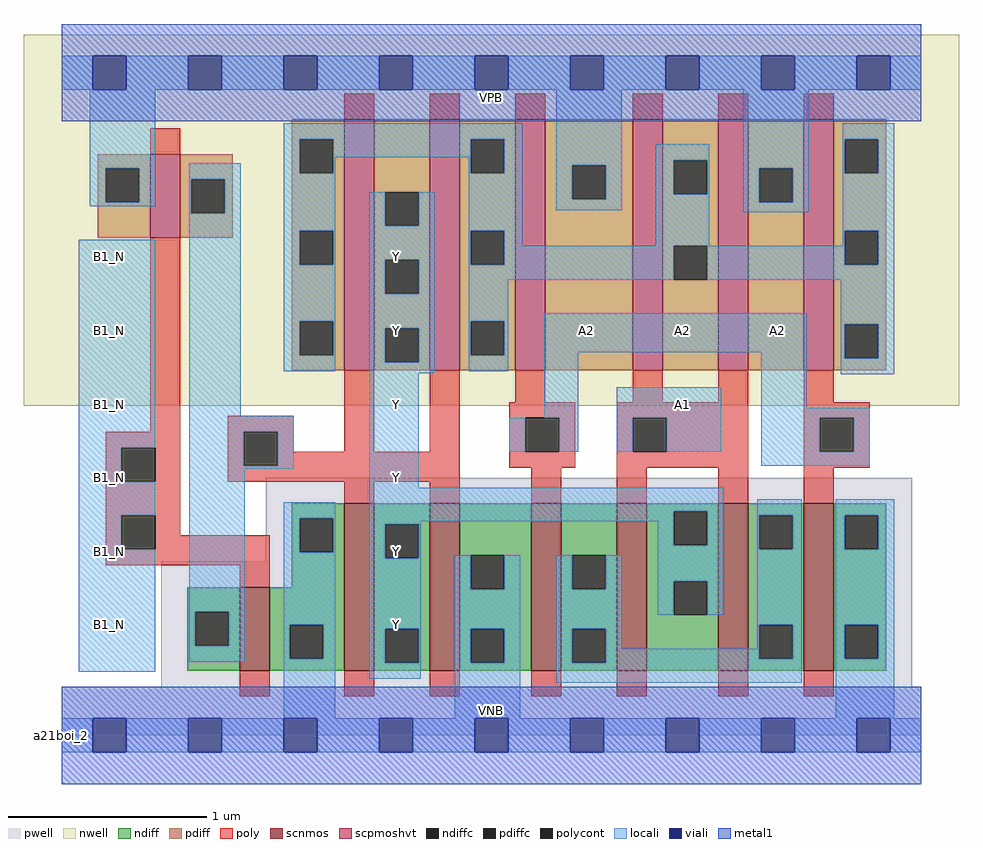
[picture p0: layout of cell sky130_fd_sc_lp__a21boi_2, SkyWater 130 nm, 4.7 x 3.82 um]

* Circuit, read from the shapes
.subckt sky130_fd_sc_lp__a21boi_2 A1 A2 B1_N VGND VNB VPB VPWR Y
XM1 VGND B1_N n1 VNB sky130_fd_pr__nfet_01v8 w=0.42 l=0.15
XM2 Y n1 VGND VNB sky130_fd_pr__nfet_01v8 w=0.84 l=0.15 m=2
XM3 n2 A2 VGND VNB sky130_fd_pr__nfet_01v8 w=0.84 l=0.15 m=2
XM4 Y A1 n2 VNB sky130_fd_pr__nfet_01v8 w=0.84 l=0.15 m=2
XM5 n1 B1_N VPWR VPB sky130_fd_pr__pfet_01v8_hvt w=0.42 l=0.15
XM6 Y n1 n3 VPB sky130_fd_pr__pfet_01v8_hvt w=1.26 l=0.15 m=2
XM7 VPWR A2 n3 VPB sky130_fd_pr__pfet_01v8_hvt w=1.26 l=0.15 m=2
XM8 n3 A1 VPWR VPB sky130_fd_pr__pfet_01v8_hvt w=1.26 l=0.15 m=2
.ends

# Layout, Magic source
magic
tech sky130A
magscale 1 2
<< nwell >>
rect -38 331 902 704
<< pwell >>
rect 205 175 855 259
rect 100 49 855 175
rect 0 0 864 49
<< scnmos >>
rect 179 65 209 149
rect 284 65 314 233
rect 370 65 400 233
rect 472 65 502 233
rect 558 65 588 233
rect 660 65 690 233
rect 746 65 776 233
<< scpmoshvt >>
rect 89 500 119 584
rect 284 367 314 619
rect 370 367 400 619
rect 456 367 486 619
rect 574 367 604 619
rect 660 367 690 619
rect 746 367 776 619
<< ndiff >>
rect 231 218 284 233
rect 231 184 239 218
rect 273 184 284 218
rect 231 149 284 184
rect 126 124 179 149
rect 126 90 134 124
rect 168 90 179 124
rect 126 65 179 90
rect 209 111 284 149
rect 209 77 229 111
rect 263 77 284 111
rect 209 65 284 77
rect 314 212 370 233
rect 314 178 325 212
rect 359 178 370 212
rect 314 107 370 178
rect 314 73 325 107
rect 359 73 370 107
rect 314 65 370 73
rect 400 181 472 233
rect 400 147 411 181
rect 445 147 472 181
rect 400 107 472 147
rect 400 73 411 107
rect 445 73 472 107
rect 400 65 472 73
rect 502 181 558 233
rect 502 147 513 181
rect 547 147 558 181
rect 502 107 558 147
rect 502 73 513 107
rect 547 73 558 107
rect 502 65 558 73
rect 588 225 660 233
rect 588 191 615 225
rect 649 191 660 225
rect 588 155 660 191
rect 588 121 615 155
rect 649 121 660 155
rect 588 65 660 121
rect 690 221 746 233
rect 690 187 701 221
rect 735 187 746 221
rect 690 111 746 187
rect 690 77 701 111
rect 735 77 746 111
rect 690 65 746 77
rect 776 221 829 233
rect 776 187 787 221
rect 821 187 829 221
rect 776 111 829 187
rect 776 77 787 111
rect 821 77 829 111
rect 776 65 829 77
<< pdiff >>
rect 231 599 284 619
rect 36 570 89 584
rect 36 536 44 570
rect 78 536 89 570
rect 36 500 89 536
rect 119 559 172 584
rect 119 525 130 559
rect 164 525 172 559
rect 119 500 172 525
rect 231 565 239 599
rect 273 565 284 599
rect 231 507 284 565
rect 231 473 239 507
rect 273 473 284 507
rect 231 416 284 473
rect 231 382 239 416
rect 273 382 284 416
rect 231 367 284 382
rect 314 546 370 619
rect 314 512 325 546
rect 359 512 370 546
rect 314 478 370 512
rect 314 444 325 478
rect 359 444 370 478
rect 314 409 370 444
rect 314 375 325 409
rect 359 375 370 409
rect 314 367 370 375
rect 400 599 456 619
rect 400 565 411 599
rect 445 565 456 599
rect 400 507 456 565
rect 400 473 411 507
rect 445 473 456 507
rect 400 416 456 473
rect 400 382 411 416
rect 445 382 456 416
rect 400 367 456 382
rect 486 573 574 619
rect 486 539 513 573
rect 547 539 574 573
rect 486 367 574 539
rect 604 578 660 619
rect 604 544 615 578
rect 649 544 660 578
rect 604 492 660 544
rect 604 458 615 492
rect 649 458 660 492
rect 604 367 660 458
rect 690 570 746 619
rect 690 536 701 570
rect 735 536 746 570
rect 690 367 746 536
rect 776 599 829 619
rect 776 565 787 599
rect 821 565 829 599
rect 776 507 829 565
rect 776 473 787 507
rect 821 473 829 507
rect 776 413 829 473
rect 776 379 787 413
rect 821 379 829 413
rect 776 367 829 379
<< ndiffc >>
rect 239 184 273 218
rect 134 90 168 124
rect 229 77 263 111
rect 325 178 359 212
rect 325 73 359 107
rect 411 147 445 181
rect 411 73 445 107
rect 513 147 547 181
rect 513 73 547 107
rect 615 191 649 225
rect 615 121 649 155
rect 701 187 735 221
rect 701 77 735 111
rect 787 187 821 221
rect 787 77 821 111
<< pdiffc >>
rect 44 536 78 570
rect 130 525 164 559
rect 239 565 273 599
rect 239 473 273 507
rect 239 382 273 416
rect 325 512 359 546
rect 325 444 359 478
rect 325 375 359 409
rect 411 565 445 599
rect 411 473 445 507
rect 411 382 445 416
rect 513 539 547 573
rect 615 544 649 578
rect 615 458 649 492
rect 701 536 735 570
rect 787 565 821 599
rect 787 473 821 507
rect 787 379 821 413
<< poly >>
rect 284 619 314 645
rect 370 619 400 645
rect 456 619 486 645
rect 574 619 604 645
rect 660 619 690 645
rect 746 619 776 645
rect 89 584 119 610
rect 89 305 119 500
rect 44 289 119 305
rect 44 255 60 289
rect 94 255 119 289
rect 167 305 233 321
rect 167 271 183 305
rect 217 285 233 305
rect 284 285 314 367
rect 370 285 400 367
rect 456 335 486 367
rect 574 335 604 367
rect 660 335 690 367
rect 217 271 400 285
rect 167 255 400 271
rect 450 319 516 335
rect 450 285 466 319
rect 500 285 516 319
rect 450 269 516 285
rect 558 319 690 335
rect 558 285 574 319
rect 608 285 690 319
rect 558 269 690 285
rect 44 221 119 255
rect 284 233 314 255
rect 370 233 400 255
rect 472 233 502 269
rect 558 233 588 269
rect 660 233 690 269
rect 746 335 776 367
rect 746 319 812 335
rect 746 285 762 319
rect 796 285 812 319
rect 746 269 812 285
rect 746 233 776 269
rect 44 187 60 221
rect 94 201 119 221
rect 94 187 209 201
rect 44 171 209 187
rect 179 149 209 171
rect 179 39 209 65
rect 284 39 314 65
rect 370 39 400 65
rect 472 39 502 65
rect 558 39 588 65
rect 660 39 690 65
rect 746 39 776 65
<< polycont >>
rect 60 255 94 289
rect 183 271 217 305
rect 466 285 500 319
rect 574 285 608 319
rect 762 285 796 319
rect 60 187 94 221
<< locali >>
rect 0 649 31 683
rect 65 649 127 683
rect 161 649 223 683
rect 257 649 319 683
rect 353 649 415 683
rect 449 649 511 683
rect 545 649 607 683
rect 641 649 703 683
rect 737 649 799 683
rect 833 649 864 683
rect 28 570 94 649
rect 223 599 463 615
rect 28 536 44 570
rect 78 536 94 570
rect 28 532 94 536
rect 128 559 180 575
rect 128 525 130 559
rect 164 525 180 559
rect 17 289 94 498
rect 17 255 60 289
rect 17 221 94 255
rect 17 187 60 221
rect 17 64 94 187
rect 128 321 180 525
rect 223 565 239 599
rect 273 581 411 599
rect 273 565 275 581
rect 223 507 275 565
rect 409 565 411 581
rect 445 565 463 599
rect 223 473 239 507
rect 273 473 275 507
rect 223 416 275 473
rect 223 382 239 416
rect 273 382 275 416
rect 223 366 275 382
rect 309 512 325 546
rect 359 512 375 546
rect 309 478 375 512
rect 309 444 325 478
rect 359 444 375 478
rect 309 409 375 444
rect 309 375 325 409
rect 359 375 375 409
rect 309 364 375 375
rect 409 507 463 565
rect 497 573 563 649
rect 497 539 513 573
rect 547 539 563 573
rect 497 528 563 539
rect 597 578 651 594
rect 597 544 615 578
rect 649 544 651 578
rect 409 473 411 507
rect 445 492 463 507
rect 597 492 651 544
rect 685 570 751 649
rect 685 536 701 570
rect 735 536 751 570
rect 685 526 751 536
rect 785 599 837 615
rect 785 565 787 599
rect 821 565 837 599
rect 785 507 837 565
rect 785 492 787 507
rect 445 473 615 492
rect 409 458 615 473
rect 649 473 787 492
rect 821 473 837 507
rect 649 458 837 473
rect 409 416 449 458
rect 409 382 411 416
rect 445 382 449 416
rect 409 366 449 382
rect 485 385 749 424
rect 128 305 233 321
rect 128 271 183 305
rect 217 271 233 305
rect 128 268 233 271
rect 128 124 184 268
rect 309 249 359 364
rect 485 319 519 385
rect 450 285 466 319
rect 500 285 519 319
rect 558 319 663 350
rect 558 285 574 319
rect 608 285 663 319
rect 703 329 749 385
rect 783 413 837 458
rect 783 379 787 413
rect 821 379 837 413
rect 783 363 837 379
rect 703 319 812 329
rect 703 285 762 319
rect 796 285 812 319
rect 703 271 812 285
rect 128 90 134 124
rect 168 90 184 124
rect 128 74 184 90
rect 223 218 275 234
rect 223 184 239 218
rect 273 184 275 218
rect 223 111 275 184
rect 223 77 229 111
rect 263 77 275 111
rect 223 17 275 77
rect 309 225 665 249
rect 309 215 615 225
rect 309 212 361 215
rect 309 178 325 212
rect 359 178 361 212
rect 599 191 615 215
rect 649 191 665 225
rect 309 107 361 178
rect 309 73 325 107
rect 359 73 361 107
rect 309 57 361 73
rect 395 147 411 181
rect 445 147 461 181
rect 395 107 461 147
rect 395 73 411 107
rect 445 73 461 107
rect 395 17 461 73
rect 497 147 513 181
rect 547 147 563 181
rect 497 107 563 147
rect 599 155 665 191
rect 599 121 615 155
rect 649 121 665 155
rect 699 221 744 237
rect 699 187 701 221
rect 735 187 744 221
rect 497 73 513 107
rect 547 87 563 107
rect 699 111 744 187
rect 699 87 701 111
rect 547 77 701 87
rect 735 77 744 111
rect 547 73 744 77
rect 497 53 744 73
rect 778 221 837 237
rect 778 187 787 221
rect 821 187 837 221
rect 778 111 837 187
rect 778 77 787 111
rect 821 77 837 111
rect 778 17 837 77
rect 0 -17 31 17
rect 65 -17 127 17
rect 161 -17 223 17
rect 257 -17 319 17
rect 353 -17 415 17
rect 449 -17 511 17
rect 545 -17 607 17
rect 641 -17 703 17
rect 737 -17 799 17
rect 833 -17 864 17
<< viali >>
rect 31 649 65 683
rect 127 649 161 683
rect 223 649 257 683
rect 319 649 353 683
rect 415 649 449 683
rect 511 649 545 683
rect 607 649 641 683
rect 703 649 737 683
rect 799 649 833 683
rect 31 -17 65 17
rect 127 -17 161 17
rect 223 -17 257 17
rect 319 -17 353 17
rect 415 -17 449 17
rect 511 -17 545 17
rect 607 -17 641 17
rect 703 -17 737 17
rect 799 -17 833 17
<< metal1 >>
rect 0 683 864 715
rect 0 649 31 683
rect 65 649 127 683
rect 161 649 223 683
rect 257 649 319 683
rect 353 649 415 683
rect 449 649 511 683
rect 545 649 607 683
rect 641 649 703 683
rect 737 649 799 683
rect 833 649 864 683
rect 0 617 864 649
rect 0 17 864 49
rect 0 -17 31 17
rect 65 -17 127 17
rect 161 -17 223 17
rect 257 -17 319 17
rect 353 -17 415 17
rect 449 -17 511 17
rect 545 -17 607 17
rect 641 -17 703 17
rect 737 -17 799 17
rect 833 -17 864 17
rect 0 -49 864 -17
<< labels >>
flabel pwell s 0 0 864 49 0 FreeSans 200 0 0 0 VNB
port 5 nsew ground bidirectional
flabel nwell s 0 617 864 666 0 FreeSans 200 0 0 0 VPB
port 6 nsew power bidirectional
rlabel comment s 0 0 0 0 4 a21boi_2
flabel metal1 s 0 617 864 666 0 FreeSans 340 0 0 0 VPWR
port 7 nsew power bidirectional
flabel metal1 s 0 0 864 49 0 FreeSans 340 0 0 0 VGND
port 4 nsew ground bidirectional
flabel locali s 319 94 353 128 0 FreeSans 340 0 0 0 Y
port 8 nsew signal output
flabel locali s 319 168 353 202 0 FreeSans 340 0 0 0 Y
port 8 nsew signal output
flabel locali s 319 242 353 276 0 FreeSans 340 0 0 0 Y
port 8 nsew signal output
flabel locali s 319 316 353 350 0 FreeSans 340 0 0 0 Y
port 8 nsew signal output
flabel locali s 319 390 353 424 0 FreeSans 340 0 0 0 Y
port 8 nsew signal output
flabel locali s 319 464 353 498 0 FreeSans 340 0 0 0 Y
port 8 nsew signal output
flabel locali s 607 316 641 350 0 FreeSans 340 0 0 0 A1
port 1 nsew signal input
flabel locali s 511 390 545 424 0 FreeSans 340 0 0 0 A2
port 2 nsew signal input
flabel locali s 607 390 641 424 0 FreeSans 340 0 0 0 A2
port 2 nsew signal input
flabel locali s 703 390 737 424 0 FreeSans 340 0 0 0 A2
port 2 nsew signal input
flabel locali s 31 94 65 128 0 FreeSans 340 0 0 0 B1_N
port 3 nsew signal input
flabel locali s 31 168 65 202 0 FreeSans 340 0 0 0 B1_N
port 3 nsew signal input
flabel locali s 31 242 65 276 0 FreeSans 340 0 0 0 B1_N
port 3 nsew signal input
flabel locali s 31 316 65 350 0 FreeSans 340 0 0 0 B1_N
port 3 nsew signal input
flabel locali s 31 390 65 424 0 FreeSans 340 0 0 0 B1_N
port 3 nsew signal input
flabel locali s 31 464 65 498 0 FreeSans 340 0 0 0 B1_N
port 3 nsew signal input
<< properties >>
string LEFsite unit
string LEFclass CORE
string FIXED_BBOX 0 0 864 666
string GDS_FILE $PDKPATH/libs.ref/sky130_fd_sc_lp/gds/sky130_fd_sc_lp.gds
string LEFsymmetry X Y R90
string GDS_END 5543476
string GDS_START 5534586
<< end >>
